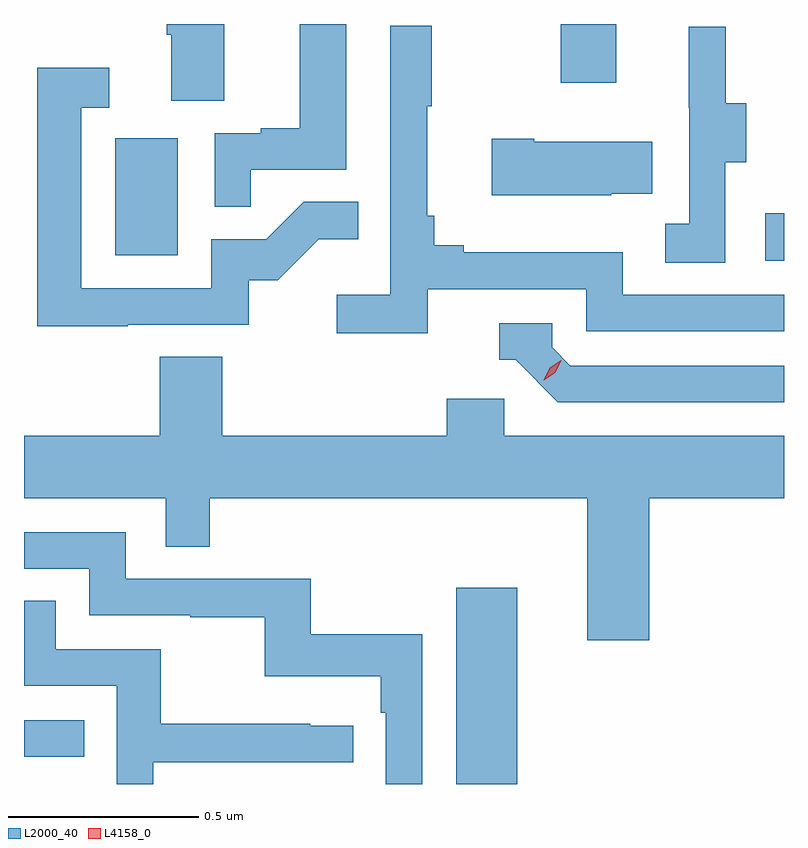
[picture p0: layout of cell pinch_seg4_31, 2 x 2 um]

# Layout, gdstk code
import gdstk
lib = gdstk.Library(unit=1e-6, precision=1e-09)
def R(c, l, rs):  # rectangles x0, y0, x1, y1
    for r in rs: c.add(gdstk.rectangle(r[:2], r[2:], *l))
def P(c, l, *ps):  # polygons
    for p in ps: c.add(gdstk.Polygon(p, *l))
L2000_40 = (2000, 40)
L4158_0 = (4158, 0)

pinch_seg4_31 = lib.new_cell('pinch_seg4_31')
R(pinch_seg4_31, L2000_40, [(1135.691,812.052,1135.852,812.569), (1134.554,812.124,1134.713,812.22), (1136.505,813.429,1136.554,813.554), (1134.794,813.444,1134.958,813.751), (1135.966,813.897,1136.113,814.052)])
P(pinch_seg4_31, L2000_40, [(1135.081,814.052),(1134.929,814.052),(1134.929,814.024),(1134.941,814.024),(1134.941,813.85),(1135.081,813.85)],
  [(1135.151,813.669),(1135.402,813.669),(1135.402,814.051),(1135.28,814.051),(1135.28,813.778),(1135.177,813.778),(1135.177,813.765),(1135.056,813.765),(1135.056,813.571),(1135.151,813.571)],
  [(1135.616,813.354),(1136.034,813.354),(1136.034,813.243),(1136.554,813.243),(1136.554,813.339),(1136.13,813.339),(1136.13,813.451),(1135.711,813.451),(1135.711,813.47),(1135.634,813.47),(1135.634,813.547),(1135.615,813.547),(1135.615,813.835),(1135.627,813.835),(1135.627,814.048),(1135.518,814.048),(1135.518,813.34),(1135.377,813.34),(1135.377,813.238),(1135.616,813.238)],
  [(1136.4,813.688),(1136.455,813.688),(1136.455,813.843),(1136.401,813.843),(1136.401,814.045),(1136.303,814.045),(1136.303,813.831),(1136.304,813.831),(1136.304,813.527),(1136.241,813.527),(1136.241,813.424),(1136.4,813.424)],
  [(1134.827,813.261),(1135.146,813.261),(1135.146,813.378),(1135.222,813.378),(1135.329,813.485),(1135.433,813.485),(1135.433,813.584),(1135.29,813.584),(1135.192,813.486),(1135.047,813.486),(1135.047,813.357),(1134.705,813.357),(1134.705,813.831),(1134.778,813.831),(1134.778,813.937),(1134.589,813.937),(1134.589,813.256),(1134.827,813.256)],
  [(1136.099,813.605),(1136.207,813.605),(1136.207,813.742),(1135.897,813.742),(1135.897,813.75),(1135.785,813.75),(1135.785,813.602),(1136.099,813.602)],
  [(1136.554,813.153),(1135.992,813.153),(1135.944,813.201),(1135.944,813.264),(1135.805,813.264),(1135.805,813.168),(1135.848,813.168),(1135.959,813.057),(1136.554,813.057)],
  [(1136.2,812.804),(1136.554,812.804),(1136.554,812.968),(1135.818,812.968),(1135.818,813.066),(1135.667,813.066),(1135.667,812.968),(1135.076,812.968),(1135.076,813.176),(1134.911,813.176),(1134.911,812.968),(1134.554,812.968),(1134.554,812.804),(1134.927,812.804),(1134.927,812.677),(1135.043,812.677),(1135.043,812.804),(1136.036,812.804),(1136.036,812.43),(1136.2,812.43)],
  [(1135.602,812.446),(1135.309,812.446),(1135.309,812.592),(1134.822,812.592),(1134.822,812.715),(1134.554,812.715),(1134.554,812.619),(1134.726,812.619),(1134.726,812.496),(1134.991,812.496),(1134.991,812.491),(1135.188,812.491),(1135.188,812.336),(1135.493,812.336),(1135.493,812.24),(1135.506,812.24),(1135.506,812.052),(1135.602,812.052)],
  [(1134.894,812.109),(1135.42,812.109),(1135.42,812.205),(1135.307,812.205),(1135.307,812.21),(1134.914,812.21),(1134.914,812.406),(1134.637,812.406),(1134.637,812.534),(1134.554,812.534),(1134.554,812.31),(1134.798,812.31),(1134.798,812.052),(1134.894,812.052)])
P(pinch_seg4_31, L4158_0, [(1135.922,813.114),(1135.922,813.114),(1135.937,813.147),(1135.968,813.167),(1135.968,813.167),(1135.968,813.167),(1135.952,813.134),(1135.922,813.114)])

lib.write_gds('pinch_seg4_31.gds')
